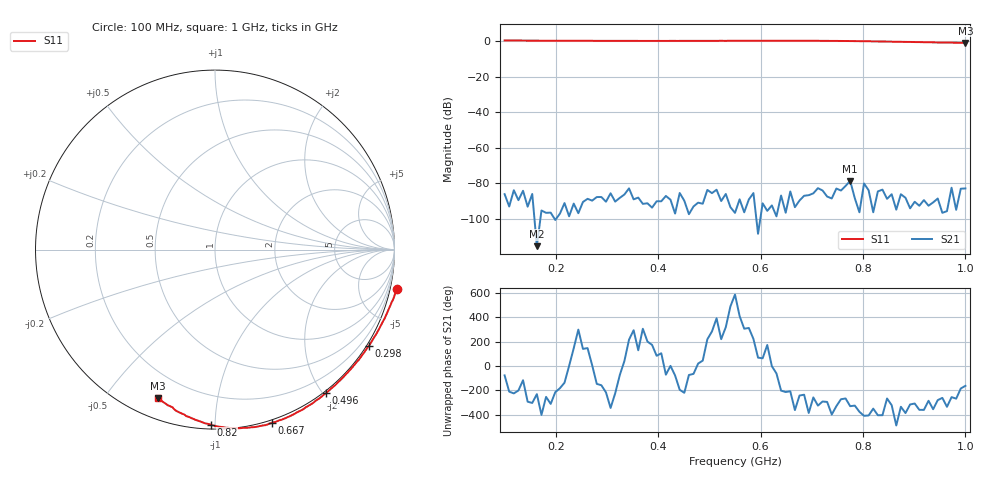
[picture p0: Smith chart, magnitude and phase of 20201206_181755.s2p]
# HZ S RI R 50
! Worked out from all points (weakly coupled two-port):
!   101 points, 100 MHz to 1 GHz, reference 50 ohm
!   highest |S21| = -78.64 dB at 775 MHz (marker M1); lowest = -115.3 dB at 163 MHz (marker M2)
!   lowest |S11| = -1.1 dB at 1 GHz (marker M3), VSWR 16.34, Z = 4.5 - j34.2 ohm
!   |S11| at or under -10 dB: nowhere
!   S12 and S22 are empty: the file has one direction only
!   S11 on the Smith chart (normalised r, x): 100 MHz: -1.52, -9.05; 298 MHz: -0.08, -3.48; 496 MHz: -0.03, -2.04; 667 MHz: -0.02, -1.38; 820 MHz: 0.02, -0.98; 1 GHz: 0.09, -0.68
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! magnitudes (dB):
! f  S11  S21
! 100 MHz  0.3  -86.1
! 163 MHz  0.2  -115.3
! 253 MHz  0.1  -90.5
! 298 MHz  0.1  -90.3
! 406 MHz  0.1  -90.1
! 496 MHz  0.1  -83.7
! 550 MHz  0.1  -96.6
! 631 MHz  0.2  -98.6
! 667 MHz  0.1  -93.4
! 685 MHz  0.2  -87.0
! 703 MHz  0.1  -85.6
! 766 MHz  0.0  -81.5
! 775 MHz  0.0  -78.6
! 784 MHz  -0.1  -88.4
! 811 MHz  -0.2  -83.9
! 820 MHz  -0.2  -96.3
! 856 MHz  -0.4  -86.1
! 883 MHz  -0.5  -88.1
! 892 MHz  -0.5  -94.1
! 946 MHz  -0.8  -88.5
! 991 MHz  -1.0  -83.0
! 1 GHz  -1.1  -82.9
